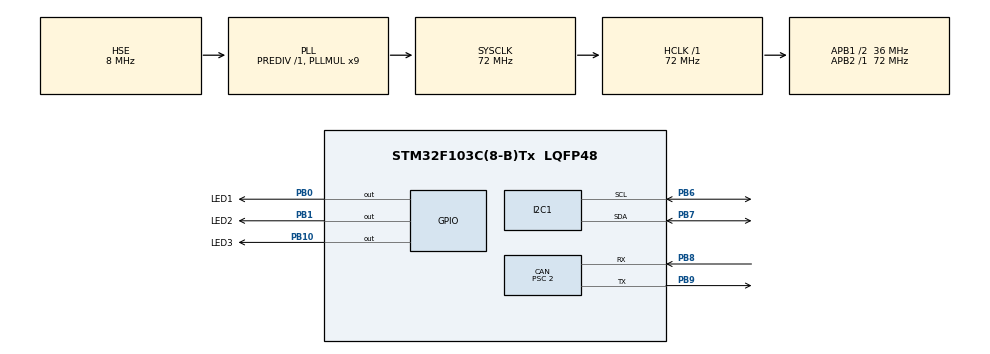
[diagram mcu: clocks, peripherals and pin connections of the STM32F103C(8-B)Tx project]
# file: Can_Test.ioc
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CAN.ABOM=ENABLE
CAN.BS1=CAN_BS1_13TQ
CAN.BS2=CAN_BS2_4TQ
CAN.CalculateBaudRate=1000000
CAN.CalculateTimeBit=1000
CAN.CalculateTimeQuantum=55.55555555555556
CAN.Mode=CAN_MODE_SILENT_LOOPBACK
CAN.Prescaler=2
Mcu.Family=STM32F1
Mcu.Name=STM32F103C(8-B)Tx
Mcu.Package=LQFP48
NVIC.CAN1_RX1_IRQn=true\:0\:0\:false\:false\:true\:true\:true\:true
NVIC.PriorityGroup=NVIC_PRIORITYGROUP_4
NVIC.USB_LP_CAN1_RX0_IRQn=true\:0\:0\:true\:false\:true\:true\:true\:true
PA13.Mode=Serial_Wire
PA13.Signal=SYS_JTMS-SWDIO
PA14.Mode=Serial_Wire
PA14.Signal=SYS_JTCK-SWCLK
PB0.GPIO_Label=LED1
PB0.GPIO_ModeDefaultOutputPP=GPIO_MODE_OUTPUT_PP
PB0.GPIO_PuPd=GPIO_NOPULL
PB0.GPIO_Speed=GPIO_SPEED_FREQ_LOW
PB0.PinState=GPIO_PIN_SET
PB0.Signal=GPIO_Output
PB1.GPIO_Label=LED2
PB1.GPIO_ModeDefaultOutputPP=GPIO_MODE_OUTPUT_PP
PB1.GPIO_PuPd=GPIO_NOPULL
PB1.GPIO_Speed=GPIO_SPEED_FREQ_LOW
PB1.PinState=GPIO_PIN_SET
PB1.Signal=GPIO_Output
PB10.GPIO_Label=LED3
PB10.GPIO_ModeDefaultOutputPP=GPIO_MODE_OUTPUT_PP
PB10.GPIO_PuPd=GPIO_NOPULL
PB10.GPIO_Speed=GPIO_SPEED_FREQ_LOW
PB10.PinState=GPIO_PIN_SET
PB10.Signal=GPIO_Output
PB6.Mode=I2C
PB6.Signal=I2C1_SCL
PB7.Mode=I2C
PB7.Signal=I2C1_SDA
PB8.Mode=CAN_Activate
PB8.Signal=CAN_RX
PB9.Mode=CAN_Activate
PB9.Signal=CAN_TX
PD0-OSC_IN.Mode=HSE-External-Oscillator
PD0-OSC_IN.Signal=RCC_OSC_IN
PD1-OSC_OUT.Mode=HSE-External-Oscillator
PD1-OSC_OUT.Signal=RCC_OSC_OUT
ProjectManager.HeapSize=0x200
ProjectManager.StackSize=0x400
ProjectManager.TargetToolchain=CMake
RCC.AHBFreq_Value=72000000
RCC.APB1CLKDivider=RCC_HCLK_DIV2
RCC.APB1Freq_Value=36000000
RCC.APB1TimFreq_Value=72000000
RCC.APB2Freq_Value=72000000
RCC.APB2TimFreq_Value=72000000
RCC.HCLKFreq_Value=72000000
RCC.PLLMUL=RCC_PLL_MUL9
RCC.PLLSourceVirtual=RCC_PLLSOURCE_HSE
RCC.SYSCLKFreq_VALUE=72000000
RCC.SYSCLKSource=RCC_SYSCLKSOURCE_PLLCLK
RCC.USBFreq_Value=72000000
board=custom

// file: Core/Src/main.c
/* USER CODE BEGIN Header */
/**
  ******************************************************************************
  * @file           : main.c
  * @brief          : Main program body
  ******************************************************************************
  * @attention
  *
  * Copyright (c) 2026 STMicroelectronics.
  * All rights reserved.
  *
  * This software is licensed under terms that can be found in the LICENSE file
  * in the root directory of this software component.
  * If no LICENSE file comes with this software, it is provided AS-IS.
  *
  ******************************************************************************
  */
/* USER CODE END Header */
#include "main.h"
#include "can.h"
#include "i2c.h"
#include "gpio.h"

/* USER CODE BEGIN Includes */
#include "OLED.h"
/* USER CODE END Includes */

/* USER CODE BEGIN PM */

/*
 * CAN 滤波器"配置字"（uint8_t）位布局：
 *   bit7..3  滤波器编号 (0~13)
 *   bit2     接收队列   (0=FIFO0, 1=FIFO1)
 *   bit1     帧格式     (0=标准帧, 1=扩展帧)   对应 IDE
 *   bit0     帧类型     (0=数据帧, 1=遥控帧)   对应 RTR
 * 用法：CAN_FILTER(0) | CAN_FIFO_0 | CAN_STDID | CAN_DATA_TYPE
 */

// F103C8T6 只有 1 个 CAN，共 14 组滤波器（编号 0~13）
#define CAN_FILTER_NUM_MAX 14

// 滤波器编号
#define CAN_FILTER(x) ((x) << 3)//将滤波器编号放在左边第4位

// 接收队列
#define CAN_FIFO_0 (0 << 2)//将0放在左边第三位
#define CAN_FIFO_1 (1 << 2)//将1放在左边第三位

// 标准帧或扩展帧
#define CAN_STDID (0 << 1)//将0放在左边第二位
#define CAN_EXTID (1 << 1)//将1放在左边第二位

// 数据帧或遥控帧
#define CAN_DATA_TYPE (0 << 0)//将0放在左边第一位
#define CAN_REMOTE_TYPE (1 << 0)//将1放在左边第一位

// 从配置字中取回各字段（滤波器配置函数里使用）
#define CAN_PARSE_FILTER(m) (((m) >> 3) & 0x1F)//取出FILTER
#define CAN_PARSE_FIFO(m)   (((m) >> 2) & 0x01)
#define CAN_PARSE_IDE(m)    (((m) >> 1) & 0x01)
#define CAN_PARSE_RTR(m)    (((m) >> 0) & 0x01)

/* USER CODE END PM */

void SystemClock_Config(void);

/* USER CODE BEGIN 0 */

void CAN_Init(CAN_HandleTypeDef *hcan)
{
  HAL_CAN_Start(hcan);
  __HAL_CAN_ENABLE_IT(hcan, CAN_IT_RX_FIFO0_MSG_PENDING);
  __HAL_CAN_ENABLE_IT(hcan, CAN_IT_RX_FIFO1_MSG_PENDING);
}
/**
 * @brief 配置CAN的滤波器
 *
 * @param hcan CAN编号
 * @param Object_Para 编号[3:] | FIFOx[2:2] | ID类型[1:1] | 帧类型[0:0]
 * @param ID ID
 * @param Mask_ID 屏蔽位(0x7ff, 0x1fffffff)掩码ID
 */
void CAN_Filter_Mask_Config(CAN_HandleTypeDef *hcan, uint8_t Object_Para, uint32_t ID, uint32_t Mask_ID)
{
  CAN_FilterTypeDef can_filter_init_structure;

  // 看第0位ID, 判断是数据帧还是遥控帧
  // 遥控帧暂不处理
  if (Object_Para & 0x01)
  {
    return;
  }

  // 看第1位ID, 判断是标准帧还是扩展帧
  // 扩展帧暂不处理
  if ((Object_Para & 0x02) >> 1)
  {
    return;
  }

  // 标准帧

  // ID配置, 标准帧的ID是11bit, 按规定放在高16bit中的[15:5]位
  // 掩码后ID的高16bit
  can_filter_init_structure.FilterIdHigh = (ID & 0x7FF) << 5;//保留11位然后左移5格放在5-15位
  // 掩码后ID的低16bit
  can_filter_init_structure.FilterIdLow = 0x0000;
  // 掩码后屏蔽位的高16bit
  can_filter_init_structure.FilterMaskIdHigh = (Mask_ID & 0x7FF) << 5;//掩码一样
  // 掩码后屏蔽位的低16bit
  can_filter_init_structure.FilterMaskIdLow = 0x0000;

  // 滤波器配置
  // 滤波器序号, 0-13
  can_filter_init_structure.FilterBank = (Object_Para >> 3) & 0x1F;
  // 滤波器模式, 设置ID掩码模式
  can_filter_init_structure.FilterMode = CAN_FILTERMODE_IDMASK;
  // 32位滤波
  can_filter_init_structure.FilterScale = CAN_FILTERSCALE_32BIT;
  // 使能滤波器
  can_filter_init_structure.FilterActivation = ENABLE;

  // 从机模式配置
  // 从机模式选择开始单元, 一般均分14个单元给CAN1和CAN2
  can_filter_init_structure.SlaveStartFilterBank = 14;

  // 滤波器绑定FIFOx, 只能绑定一个
  can_filter_init_structure.FilterFIFOAssignment = (Object_Para >> 2) & 0x01;

  HAL_CAN_ConfigFilter(hcan, &can_filter_init_structure);
}

/**
 * @brief 发送数据帧
 *
 * @param hcan CAN编号
 * @param ID ID
 * @param Data 被发送的数据指针
 * @param Length 长度
 * @return uint8_t 执行状态
 */
uint8_t CAN_Send_Data(CAN_HandleTypeDef *hcan, uint16_t ID, uint8_t *Data, uint16_t Length)
{
  CAN_TxHeaderTypeDef tx_header;
  uint32_t used_mailbox;

  // 检测关键传参
  assert_param(hcan != NULL);

  tx_header.StdId = ID;
  tx_header.ExtId = 0;
  tx_header.IDE = 0;
  tx_header.RTR = 0;
  tx_header.DLC = Length;

  return (HAL_CAN_AddTxMessage(hcan, &tx_header, Data, &used_mailbox));
}

void LED_Control(uint8_t data)
{
  HAL_GPIO_WritePin(LED1_GPIO_Port, LED1_Pin, ((data&1)==0) ? GPIO_PIN_SET : GPIO_PIN_RESET);
  HAL_GPIO_WritePin(LED2_GPIO_Port, LED2_Pin, ((data&2)==0) ? GPIO_PIN_SET : GPIO_PIN_RESET);
  HAL_GPIO_WritePin(LED3_GPIO_Port, LED3_Pin, ((data&4)==0) ? GPIO_PIN_SET : GPIO_PIN_RESET);

}
//接收报文中断回调函数--接收can总线上数据，并且发现数据符合滤波器的匹配规则，发起接收中断进入函数内部
void HAL_CAN_RxFifo1MsgPendingCallback(CAN_HandleTypeDef *hcan)
{
  CAN_RxHeaderTypeDef header;//接收之前发送的
  uint8_t data;

  HAL_CAN_GetRxMessage(hcan, CAN_FILTER_FIFO1, &header, &data);

  LED_Control(data);
}

/* USER CODE END 0 */

int main(void)
{

  /* MCU Configuration--------------------------------------------------------*/

  /* Reset of all peripherals, Initializes the Flash interface and the Systick. */
  HAL_Init();

  /* Configure the system clock */
  SystemClock_Config();

  /* Initialize all configured peripherals */
  MX_GPIO_Init();
  MX_CAN_Init();
  MX_I2C1_Init();
  /* USER CODE BEGIN 2 */
  OLED_Init();
  uint8_t Send_Data = 0;
  CAN_Init(&hcan);
  CAN_Filter_Mask_Config(&hcan, CAN_FILTER(13) | CAN_FIFO_1 | CAN_STDID | CAN_DATA_TYPE, 0x114, 0x7ff);

  /* USER CODE END 2 */

  /* Infinite loop */
  /* USER CODE BEGIN WHILE */
  while (1)
  {
    Send_Data++;
    CAN_Send_Data(&hcan,0x114,&Send_Data, 1);
    HAL_Delay(250);
    if(Send_Data>=4)
    {
      Send_Data=0;
    }
    /* USER CODE END WHILE */

  }
}

void SystemClock_Config(void)
{
  RCC_OscInitTypeDef RCC_OscInitStruct = {0};
  RCC_ClkInitTypeDef RCC_ClkInitStruct = {0};

  /** Initializes the RCC Oscillators according to the specified parameters
  * in the RCC_OscInitTypeDef structure.
  */
  RCC_OscInitStruct.OscillatorType = RCC_OSCILLATORTYPE_HSE;
  RCC_OscInitStruct.HSEState = RCC_HSE_ON;
  RCC_OscInitStruct.HSEPredivValue = RCC_HSE_PREDIV_DIV1;
  RCC_OscInitStruct.HSIState = RCC_HSI_ON;
  RCC_OscInitStruct.PLL.PLLState = RCC_PLL_ON;
  RCC_OscInitStruct.PLL.PLLSource = RCC_PLLSOURCE_HSE;
  RCC_OscInitStruct.PLL.PLLMUL = RCC_PLL_MUL9;
  if (HAL_RCC_OscConfig(&RCC_OscInitStruct) != HAL_OK)
  {
    Error_Handler();
  }

  /** Initializes the CPU, AHB and APB buses clocks
  */
  RCC_ClkInitStruct.ClockType = RCC_CLOCKTYPE_HCLK|RCC_CLOCKTYPE_SYSCLK
                              |RCC_CLOCKTYPE_PCLK1|RCC_CLOCKTYPE_PCLK2;
  RCC_ClkInitStruct.SYSCLKSource = RCC_SYSCLKSOURCE_PLLCLK;
  RCC_ClkInitStruct.AHBCLKDivider = RCC_SYSCLK_DIV1;
  RCC_ClkInitStruct.APB1CLKDivider = RCC_HCLK_DIV2;
  RCC_ClkInitStruct.APB2CLKDivider = RCC_HCLK_DIV1;

  if (HAL_RCC_ClockConfig(&RCC_ClkInitStruct, FLASH_LATENCY_2) != HAL_OK)
  {
    Error_Handler();
  }
}

void Error_Handler(void)
{
  __disable_irq();
  while (1)
  {
  }
}
